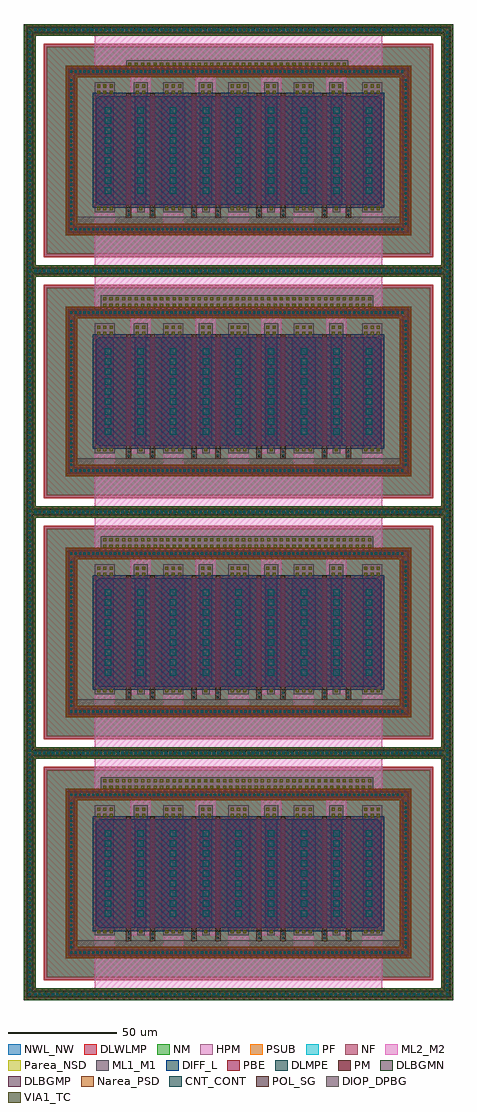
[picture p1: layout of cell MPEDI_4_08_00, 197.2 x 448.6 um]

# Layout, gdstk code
from math import pi, radians
import gdstk
lib = gdstk.Library(unit=1e-6, precision=1e-09)
def R(c, l, rs):  # rectangles x0, y0, x1, y1
    for r in rs: c.add(gdstk.rectangle(r[:2], r[2:], *l))
def A(c, l, x, y, w, h, nx, ny, dx, dy):  # array of equal rectangles
    R(c, l, [(x+i*dx, y+j*dy, x+i*dx+w, y+j*dy+h) for i in range(nx) for j in range(ny)])
def P(c, l, *ps):  # polygons
    for p in ps: c.add(gdstk.Polygon(p, *l))
DIFF_L = (3, 0)
NM = (7, 0)
POL_SG = (8, 0)
Narea_PSD = (9, 0)
CNT_CONT = (11, 0)
ML1_M1 = (13, 0)
VIA1_TC = (19, 0)
ML2_M2 = (20, 0)
NF = (25, 0)
PF = (26, 0)
Parea_NSD = (28, 0)
HPM = (33, 0)
PM = (35, 0)
NWL_NW = (36, 0)
DIOP_DPBG = (116, 0)
PSUB = (140, 0)
PBE = (146, 0)
DLWLMP = (150, 0)
DLMPE = (169, 0)
DLBGMP = (177, 0)
DLBGMN = (178, 0)

bgmp_cdns_696587111910 = lib.new_cell('BGMP_CDNS_696587111910')
R(bgmp_cdns_696587111910, DIFF_L, [(0,0,156.2,2.6)])
R(bgmp_cdns_696587111910, NM, [(-1.4,-1.4,157.6,4)])
R(bgmp_cdns_696587111910, Narea_PSD, [(-1.4,-1.4,157.6,4)])
A(bgmp_cdns_696587111910, CNT_CONT, 0.8, 0.8, 1, 1, 77, 1, 2, 0)
R(bgmp_cdns_696587111910, ML1_M1, [(0,0,156.2,2.6)])
R(bgmp_cdns_696587111910, HPM, [(-1.4,-1.4,157.6,4)])
R(bgmp_cdns_696587111910, PM, [(-1.4,-1.4,157.6,4)])

bgmp_cdns_696587111911 = lib.new_cell('BGMP_CDNS_696587111911')
R(bgmp_cdns_696587111911, DIFF_L, [(0,0,70,2.6)])
R(bgmp_cdns_696587111911, NM, [(-1.4,-1.4,71.4,4)])
R(bgmp_cdns_696587111911, Narea_PSD, [(-1.4,-1.4,71.4,4)])
A(bgmp_cdns_696587111911, CNT_CONT, 0.8, 0.8, 1, 1, 34, 1, 2, 0)
R(bgmp_cdns_696587111911, ML1_M1, [(0,0,70,2.6)])
R(bgmp_cdns_696587111911, HPM, [(-1.4,-1.4,71.4,4)])
R(bgmp_cdns_696587111911, PM, [(-1.4,-1.4,71.4,4)])

mpe_cdns_696587111912 = lib.new_cell('MPE_CDNS_696587111912')
R(mpe_cdns_696587111912, DIFF_L, [(10,0,12,50)])
P(mpe_cdns_696587111912, DIFF_L, [(12,0),(12,50),(24.6,50),(26,48.6),(26,1.4),(24.6,0)],
  [(1.4,0),(0,1.4),(0,48.6),(1.4,50),(10,50),(10,0)])
R(mpe_cdns_696587111912, NM, [(-1.4,-1.4,27.4,51.4)])
R(mpe_cdns_696587111912, POL_SG, [(10,-1.2,12,0), (10,-1.2,12,51.2), (10,50,12,51.2)])
A(mpe_cdns_696587111912, CNT_CONT, 4, 5.1, 3, 3, 1, 9, 0, 4.6)
A(mpe_cdns_696587111912, CNT_CONT, 19, 5.1, 3, 3, 1, 9, 0, 4.6)
R(mpe_cdns_696587111912, ML1_M1, [(2.8,0,8.2,50), (17.8,0,26,50)])
R(mpe_cdns_696587111912, Parea_NSD, [(-1.4,-1.4,27.4,51.4)])
R(mpe_cdns_696587111912, HPM, [(-1.4,-1.4,27.4,51.4)])
R(mpe_cdns_696587111912, DIOP_DPBG, [(10,0,12,50)])
R(mpe_cdns_696587111912, PBE, [(-1.4,-1.4,27.4,51.4)])
R(mpe_cdns_696587111912, DLMPE, [(-1.4,-1.4,27.4,51.4)])

wlmp_cdns_696587111913 = lib.new_cell('WLMP_CDNS_696587111913')
R(wlmp_cdns_696587111913, NF, [(1.5,1.5,177.7,96.7)])
R(wlmp_cdns_696587111913, PF, [(1.5,1.5,177.7,96.7)])
R(wlmp_cdns_696587111913, NWL_NW, [(0,0,179.2,98.2)])
R(wlmp_cdns_696587111913, PSUB, [(1.5,1.5,177.7,96.7)])
R(wlmp_cdns_696587111913, DLWLMP, [(0,0,179.2,98.2)])

tc14_cdns_696587111910 = lib.new_cell('TC14_CDNS_696587111910')
R(tc14_cdns_696587111910, ML1_M1, [(-51,-1.7,51,1.7)])
A(tc14_cdns_696587111910, VIA1_TC, -50, -0.7, 1.4, 1.4, 35, 1, 2.9, 0)
R(tc14_cdns_696587111910, ML2_M2, [(-51,-1.7,51,1.7)])

sgct_cdns_696587111911 = lib.new_cell('SGCT_CDNS_696587111911')
R(sgct_cdns_696587111911, POL_SG, [(-1.3,-2.3,1.3,2.3)])
R(sgct_cdns_696587111911, CNT_CONT, [(-0.5,-1.5,0.5,-0.5), (-0.5,0.5,0.5,1.5)])
R(sgct_cdns_696587111911, ML1_M1, [(-1.3,-2.3,1.3,2.3)])

tc14_cdns_696587111912 = lib.new_cell('TC14_CDNS_696587111912')
R(tc14_cdns_696587111912, ML1_M1, [(-4.6,-1.7,4.6,1.7)])
A(tc14_cdns_696587111912, VIA1_TC, -3.6, -0.7, 1.4, 1.4, 3, 1, 2.9, 0)
R(tc14_cdns_696587111912, ML2_M2, [(-4.6,-1.7,4.6,1.7)])

tc14_cdns_696587111913 = lib.new_cell('TC14_CDNS_696587111913')
R(tc14_cdns_696587111913, ML1_M1, [(-4.6,-3.1,4.6,3.2)])
A(tc14_cdns_696587111913, VIA1_TC, -3.6, -2.1, 1.4, 1.4, 3, 2, 2.9, 2.9)
R(tc14_cdns_696587111913, ML2_M2, [(-4.6,-3.1,4.6,3.2)])

tc14_cdns_696587111914 = lib.new_cell('TC14_CDNS_696587111914')
R(tc14_cdns_696587111914, ML1_M1, [(-1.7,-3.1,1.7,3.2)])
R(tc14_cdns_696587111914, VIA1_TC, [(-0.7,-2.1,0.7,-0.7), (-0.7,0.8,0.7,2.2)])
R(tc14_cdns_696587111914, ML2_M2, [(-1.7,-3.1,1.7,3.2)])

tc14_cdns_696587111915 = lib.new_cell('TC14_CDNS_696587111915')
R(tc14_cdns_696587111915, ML1_M1, [(-1.7,-1.7,1.7,1.7)])
R(tc14_cdns_696587111915, VIA1_TC, [(-0.7,-0.7,0.7,0.7)])
R(tc14_cdns_696587111915, ML2_M2, [(-1.7,-1.7,1.7,1.7)])

mpedi_08_00_int = lib.new_cell('MPEDI_08_00_int')
R(mpedi_08_00_int, POL_SG, [(38.1,22.7,40.1,22.9), (49.1,22.7,51.1,22.9), (68.1,22.7,70.1,22.9), (79.1,22.7,81.1,22.9), (98.1,22.7,100.1,22.9), (109.1,22.7,111.1,22.9), (128.1,22.7,130.1,22.9), (139.1,22.7,141.1,22.9)])
R(mpedi_08_00_int, ML1_M1, [(14.1,14.1,165.1,18.5)])
A(mpedi_08_00_int, ML2_M2, 55, 8.1, 9.2, 72.3, 3, 1, 30, 0)
A(mpedi_08_00_int, ML2_M2, 40, 20.7, 9.2, 69.8, 4, 1, 30, 0)
R(mpedi_08_00_int, ML2_M2, [(23.6,8.1,32.8,80.4), (23.6,8.1,25,9.5), (146.4,8.1,155.6,80.4), (38,89.1,39.4,90.5)])
R(mpedi_08_00_int, DLBGMP, [(10.1,10.1,169.1,15.5), (10.1,12.7,15.5,85.5), (163.7,12.7,169.1,85.5), (10.1,82.7,169.1,88.1)])
mpedi_08_00_int.add(gdstk.FlexPath([(11.1,12.8),(168.1,12.8)], 3.4, ends="flush", simple_path=True, layer=13, datatype=0))  # ML1_M1
mpedi_08_00_int.add(gdstk.FlexPath([(11.1,85.4),(168.1,85.4)], 3.4, ends="flush", simple_path=True, layer=13, datatype=0))  # ML1_M1
mpedi_08_00_int.add(gdstk.FlexPath([(12.8,11.1),(12.8,87.1)], 3.4, ends="flush", simple_path=True, layer=13, datatype=0))  # ML1_M1
mpedi_08_00_int.add(gdstk.FlexPath([(166.4,11.1),(166.4,87.1)], 3.4, ends="flush", simple_path=True, layer=13, datatype=0))  # ML1_M1
mpedi_08_00_int.add(gdstk.FlexPath([(155.6,9.6),(23.6,9.6)], 3, ends="flush", simple_path=True, layer=20, datatype=0))  # ML2_M2
mpedi_08_00_int.add(gdstk.Reference(bgmp_cdns_696587111910, (11.5,84.1)))
mpedi_08_00_int.add(gdstk.Reference(bgmp_cdns_696587111910, (11.5,11.5)))
mpedi_08_00_int.add(gdstk.Reference(bgmp_cdns_696587111911, (14.1,14.1), rotation=pi/2))
mpedi_08_00_int.add(gdstk.Reference(bgmp_cdns_696587111911, (167.7,14.1), rotation=pi/2))
mpedi_08_00_int.add(gdstk.Reference(mpe_cdns_696587111912, (110.1,24.1), rotation=pi, x_reflection=True))
mpedi_08_00_int.add(gdstk.Reference(mpe_cdns_696587111912, (69.1,24.1)))
mpedi_08_00_int.add(gdstk.Reference(mpe_cdns_696587111912, (129.1,24.1)))
mpedi_08_00_int.add(gdstk.Reference(mpe_cdns_696587111912, (140.1,24.1), rotation=pi, x_reflection=True))
mpedi_08_00_int.add(gdstk.Reference(mpe_cdns_696587111912, (99.1,24.1)))
mpedi_08_00_int.add(gdstk.Reference(mpe_cdns_696587111912, (50.1,24.1), rotation=pi, x_reflection=True))
mpedi_08_00_int.add(gdstk.Reference(mpe_cdns_696587111912, (39.1,24.1)))
mpedi_08_00_int.add(gdstk.Reference(mpe_cdns_696587111912, (80.1,24.1), rotation=pi, x_reflection=True))
mpedi_08_00_int.add(gdstk.Reference(wlmp_cdns_696587111913, (0,0)))
mpedi_08_00_int.add(gdstk.Reference(tc14_cdns_696587111910, (89,88.8)))
mpedi_08_00_int.add(gdstk.Reference(sgct_cdns_696587111911, (140.1,20.4)))
mpedi_08_00_int.add(gdstk.Reference(sgct_cdns_696587111911, (129.1,20.4)))
mpedi_08_00_int.add(gdstk.Reference(sgct_cdns_696587111911, (110.1,20.4)))
mpedi_08_00_int.add(gdstk.Reference(sgct_cdns_696587111911, (99.1,20.4)))
mpedi_08_00_int.add(gdstk.Reference(sgct_cdns_696587111911, (80.1,20.4)))
mpedi_08_00_int.add(gdstk.Reference(sgct_cdns_696587111911, (69.1,20.4)))
mpedi_08_00_int.add(gdstk.Reference(sgct_cdns_696587111911, (50.1,20.4)))
mpedi_08_00_int.add(gdstk.Reference(sgct_cdns_696587111911, (39.1,20.4)))
mpedi_08_00_int.add(gdstk.Reference(tc14_cdns_696587111912, (151,22.4)))
mpedi_08_00_int.add(gdstk.Reference(tc14_cdns_696587111912, (119.6,22.4)))
mpedi_08_00_int.add(gdstk.Reference(tc14_cdns_696587111912, (89.6,22.4)))
mpedi_08_00_int.add(gdstk.Reference(tc14_cdns_696587111912, (59.6,22.4)))
mpedi_08_00_int.add(gdstk.Reference(tc14_cdns_696587111912, (28.2,22.4)))
mpedi_08_00_int.add(gdstk.Reference(tc14_cdns_696587111913, (151,77.2)))
mpedi_08_00_int.add(gdstk.Reference(tc14_cdns_696587111913, (119.6,77.2)))
mpedi_08_00_int.add(gdstk.Reference(tc14_cdns_696587111913, (89.6,77.2)))
mpedi_08_00_int.add(gdstk.Reference(tc14_cdns_696587111913, (59.6,77.2)))
mpedi_08_00_int.add(gdstk.Reference(tc14_cdns_696587111913, (28.2,77.2)))
mpedi_08_00_int.add(gdstk.Reference(tc14_cdns_696587111914, (136.1,77.2)))
mpedi_08_00_int.add(gdstk.Reference(tc14_cdns_696587111914, (133.1,77.2)))
mpedi_08_00_int.add(gdstk.Reference(tc14_cdns_696587111914, (106.1,77.2)))
mpedi_08_00_int.add(gdstk.Reference(tc14_cdns_696587111914, (103.1,77.2)))
mpedi_08_00_int.add(gdstk.Reference(tc14_cdns_696587111914, (76.1,77.2)))
mpedi_08_00_int.add(gdstk.Reference(tc14_cdns_696587111914, (73.1,77.2)))
mpedi_08_00_int.add(gdstk.Reference(tc14_cdns_696587111914, (46.1,77.2)))
mpedi_08_00_int.add(gdstk.Reference(tc14_cdns_696587111914, (43.1,77.2)))
mpedi_08_00_int.add(gdstk.Reference(tc14_cdns_696587111915, (134.6,22.4)))
mpedi_08_00_int.add(gdstk.Reference(tc14_cdns_696587111915, (104.6,22.4)))
mpedi_08_00_int.add(gdstk.Reference(tc14_cdns_696587111915, (74.6,22.4)))
mpedi_08_00_int.add(gdstk.Reference(tc14_cdns_696587111915, (44.7,22.4)))

bgmn_cdns_696587063544 = lib.new_cell('BGMN_CDNS_696587063544')
R(bgmn_cdns_696587063544, DIFF_L, [(0,0,189.2,2.6)])
R(bgmn_cdns_696587063544, NM, [(-1.4,-1.4,190.6,4)])
A(bgmn_cdns_696587063544, CNT_CONT, 0.8, 0.8, 1, 1, 94, 1, 2, 0)
R(bgmn_cdns_696587063544, ML1_M1, [(0,0,189.2,2.6)])
R(bgmn_cdns_696587063544, Parea_NSD, [(-1.4,-1.4,190.6,4)])
R(bgmn_cdns_696587063544, HPM, [(-1.4,-1.4,190.6,4)])
R(bgmn_cdns_696587063544, PM, [(-1.4,-1.4,190.6,4)])

bgmn_cdns_696587063545 = lib.new_cell('BGMN_CDNS_696587063545')
R(bgmn_cdns_696587063545, DIFF_L, [(0,0,445.8,2.6)])
R(bgmn_cdns_696587063545, NM, [(-1.4,-1.4,447.2,4)])
A(bgmn_cdns_696587063545, CNT_CONT, 0.8, 0.8, 1, 1, 222, 1, 2, 0)
R(bgmn_cdns_696587063545, ML1_M1, [(0,0,445.8,2.6)])
R(bgmn_cdns_696587063545, Parea_NSD, [(-1.4,-1.4,447.2,4)])
R(bgmn_cdns_696587063545, HPM, [(-1.4,-1.4,447.2,4)])
R(bgmn_cdns_696587063545, PM, [(-1.4,-1.4,447.2,4)])

tc14_cdns_696587063540 = lib.new_cell('TC14_CDNS_696587063540')
R(tc14_cdns_696587063540, ML1_M1, [(-62.4,-3,62.8,3.3)])
A(tc14_cdns_696587063540, VIA1_TC, -61.4, -2, 1.4, 1.4, 43, 2, 2.9, 2.9)
R(tc14_cdns_696587063540, ML2_M2, [(-62.4,-3,62.8,3.3)])

mpedi_4_08_00 = lib.new_cell('MPEDI_4_08_00')
R(mpedi_4_08_00, ML2_M2, [(32.6,0,164.6,20.1), (32.6,0,164.6,20.1), (32.6,17.1,34,18.5), (32.6,96.1,164.6,130.9), (32.6,96.1,164.6,130.9), (32.6,206.9,164.6,241.7), (32.6,206.9,164.6,241.7), (32.6,317.7,164.6,352.5), (32.6,317.7,164.6,337.8), (32.6,428.5,164.6,448.6), (32.6,447.2,34,448.6)])
A(mpedi_4_08_00, DLBGMN, 2.6, 0, 192, 5.4, 1, 5, 0, 110.8)
R(mpedi_4_08_00, DLBGMN, [(0,0,5.4,448.6), (191.8,0,197.2,448.6)])
mpedi_4_08_00.add(gdstk.FlexPath([(1,113.5),(196.2,113.5)], 3.4, ends="flush", simple_path=True, layer=13, datatype=0))  # ML1_M1
mpedi_4_08_00.add(gdstk.FlexPath([(1,224.3),(196.2,224.3)], 3.4, ends="flush", simple_path=True, layer=13, datatype=0))  # ML1_M1
mpedi_4_08_00.add(gdstk.FlexPath([(1,445.9),(196.2,445.9)], 3.4, ends="flush", simple_path=True, layer=13, datatype=0))  # ML1_M1
mpedi_4_08_00.add(gdstk.FlexPath([(194.5,1),(194.5,447.6)], 3.4, ends="flush", simple_path=True, layer=13, datatype=0))  # ML1_M1
mpedi_4_08_00.add(gdstk.FlexPath([(2.7,1),(2.7,447.6)], 3.4, ends="flush", simple_path=True, layer=13, datatype=0))  # ML1_M1
mpedi_4_08_00.add(gdstk.FlexPath([(1,2.7),(196.2,2.7)], 3.4, ends="flush", simple_path=True, layer=13, datatype=0))  # ML1_M1
mpedi_4_08_00.add(gdstk.FlexPath([(1,335.1),(196.2,335.1)], 3.4, ends="flush", simple_path=True, layer=13, datatype=0))  # ML1_M1
mpedi_4_08_00.add(gdstk.Reference(mpedi_08_00_int, (9,230.6)))
mpedi_4_08_00.add(gdstk.Reference(mpedi_08_00_int, (9,119.8)))
mpedi_4_08_00.add(gdstk.Reference(mpedi_08_00_int, (9,9)))
mpedi_4_08_00.add(gdstk.Reference(mpedi_08_00_int, (9,341.4)))
mpedi_4_08_00.add(gdstk.Reference(bgmn_cdns_696587063544, (4,333.8)))
mpedi_4_08_00.add(gdstk.Reference(bgmn_cdns_696587063544, (4,444.6)))
mpedi_4_08_00.add(gdstk.Reference(bgmn_cdns_696587063544, (4,223)))
mpedi_4_08_00.add(gdstk.Reference(bgmn_cdns_696587063544, (4,112.2)))
mpedi_4_08_00.add(gdstk.Reference(bgmn_cdns_696587063544, (4,1.4)))
mpedi_4_08_00.add(gdstk.Reference(bgmn_cdns_696587063545, (4,1.4), rotation=pi/2))
mpedi_4_08_00.add(gdstk.Reference(bgmn_cdns_696587063545, (195.8,1.4), rotation=pi/2))
mpedi_4_08_00.add(gdstk.Reference(tc14_cdns_696587063540, (97.8,320.7)))
mpedi_4_08_00.add(gdstk.Reference(tc14_cdns_696587063540, (97.8,99.1)))
mpedi_4_08_00.add(gdstk.Reference(tc14_cdns_696587063540, (97.8,209.9)))

lib.write_gds('MPEDI_4_08_00.gds')
